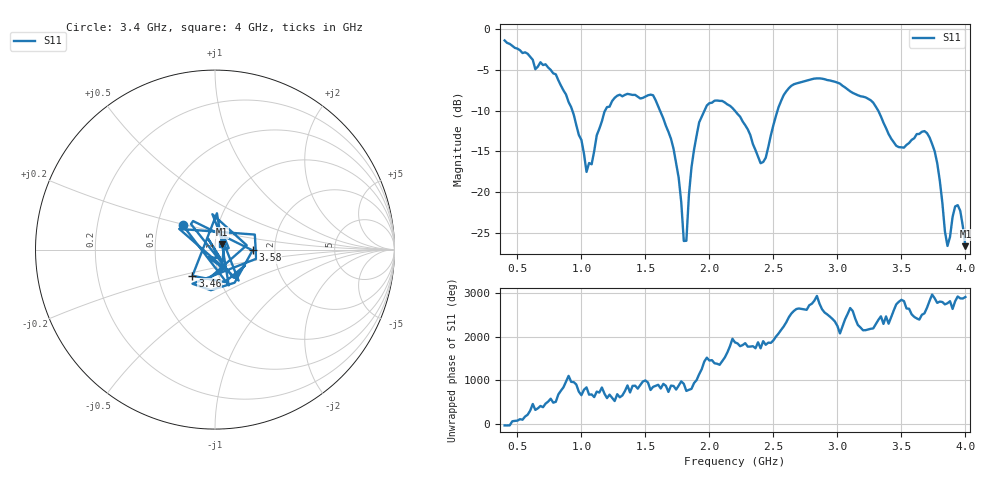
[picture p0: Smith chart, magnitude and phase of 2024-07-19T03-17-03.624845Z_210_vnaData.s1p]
!Created with skrf (http://scikit-rf.org).
# Hz S RI R 50.0
!freq ReS11 ImS11
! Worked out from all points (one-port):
!   181 points, 400 MHz to 4 GHz, reference 50 ohm
!   lowest |S11| = -26.6 dB at 4 GHz (marker M1), VSWR 1.10, Z = 53.7 + j3.09 ohm
!   |S11| at or under -10 dB: 1.615 GHz to 1.961 GHz (345.6 MHz wide, 19.3 % of centre); 2.199 GHz to 2.532 GHz (332.5 MHz wide, 14.1 % of centre); 3.319 GHz to end of sweep (the widest 3 of 4)
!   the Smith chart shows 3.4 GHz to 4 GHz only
!   S11 on the Smith chart (normalised r, x): 3.4 GHz: 0.67, +0.20; 3.46 GHz: 0.75, -0.23; 3.58 GHz: 1.53, -0.01; 4 GHz: 1.07, +0.06
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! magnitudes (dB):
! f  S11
! 400 MHz  -1.4
! 860 MHz  -7.5
! 1 GHz  -13.6
! 1.04 GHz  -17.5
! 1.18 GHz  -10.1
! 1.3 GHz  -8.0
! 1.56 GHz  -8.1
! 1.7 GHz  -13.5
! 1.76 GHz  -18.2
! 1.8 GHz  -26.0
! 1.82 GHz  -26.0
! 1.86 GHz  -17.0
! 1.92 GHz  -11.4
! 2.04 GHz  -8.8
! 2.2 GHz  -10.0
! 2.4 GHz  -16.4
! 2.66 GHz  -6.7
! 3.1 GHz  -7.6
! 3.28 GHz  -9.0
! 3.4 GHz  -12.9
! 3.46 GHz  -14.3
! 3.56 GHz  -14.0
! 3.58 GHz  -13.6
! 3.72 GHz  -13.3
! 3.78 GHz  -16.5
! 3.86 GHz  -26.6
! 3.94 GHz  -21.6
! 4 GHz  -26.6
